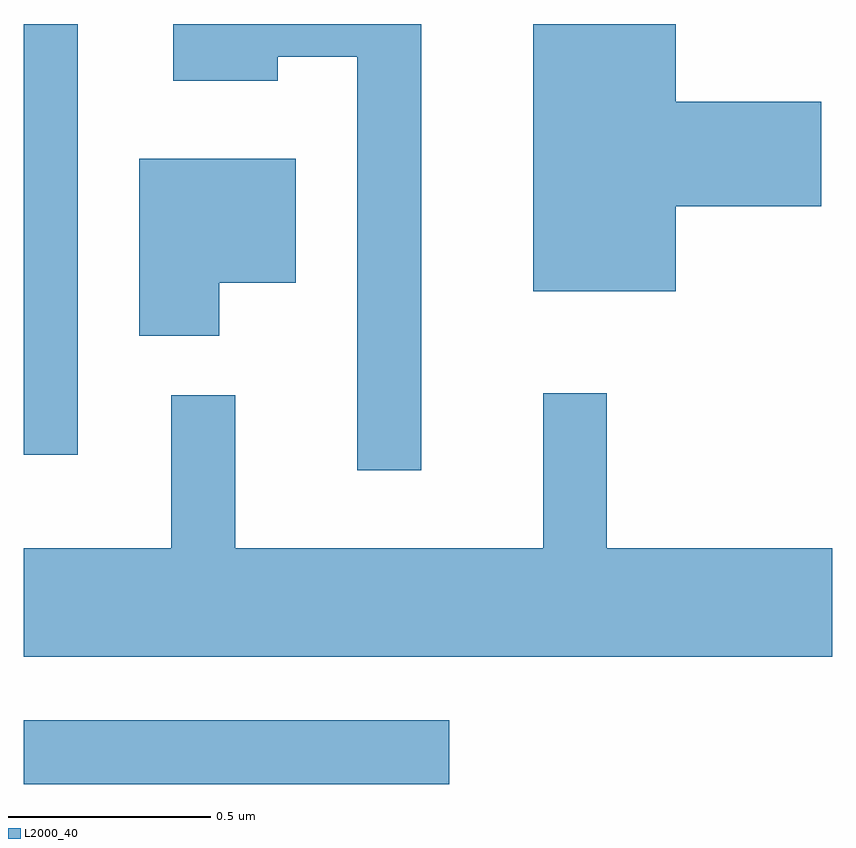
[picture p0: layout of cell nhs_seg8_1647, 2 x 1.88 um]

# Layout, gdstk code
import gdstk
lib = gdstk.Library(unit=1e-6, precision=1e-09)
def R(c, l, rs):  # rectangles x0, y0, x1, y1
    for r in rs: c.add(gdstk.rectangle(r[:2], r[2:], *l))
def P(c, l, *ps):  # polygons
    for p in ps: c.add(gdstk.Polygon(p, *l))
L2000_40 = (2000, 40)

nhs_seg8_1647 = lib.new_cell('nhs_seg8_1647')
R(nhs_seg8_1647, L2000_40, [(197.611,1809.461,198.663,1809.619), (197.611,1810.276,197.744,1811.342)])
P(nhs_seg8_1647, L2000_40, [(198.594,1811.342),(197.981,1811.342),(197.981,1811.201),(198.239,1811.201),(198.239,1811.261),(198.436,1811.261),(198.436,1810.238),(198.594,1810.238)],
  [(199.224,1810.891),(199.584,1810.891),(199.584,1811.149),(199.224,1811.149),(199.224,1811.342),(198.871,1811.342),(198.871,1810.681),(199.224,1810.681)],
  [(198.094,1810.701),(198.284,1810.701),(198.284,1811.009),(197.896,1811.009),(197.896,1810.571),(198.094,1810.571)],
  [(199.611,1810.044),(199.054,1810.044),(199.054,1810.428),(198.896,1810.428),(198.896,1810.044),(198.134,1810.044),(198.134,1810.423),(197.976,1810.423),(197.976,1810.044),(197.611,1810.044),(197.611,1809.776),(199.611,1809.776)])

lib.write_gds('nhs_seg8_1647.gds')
